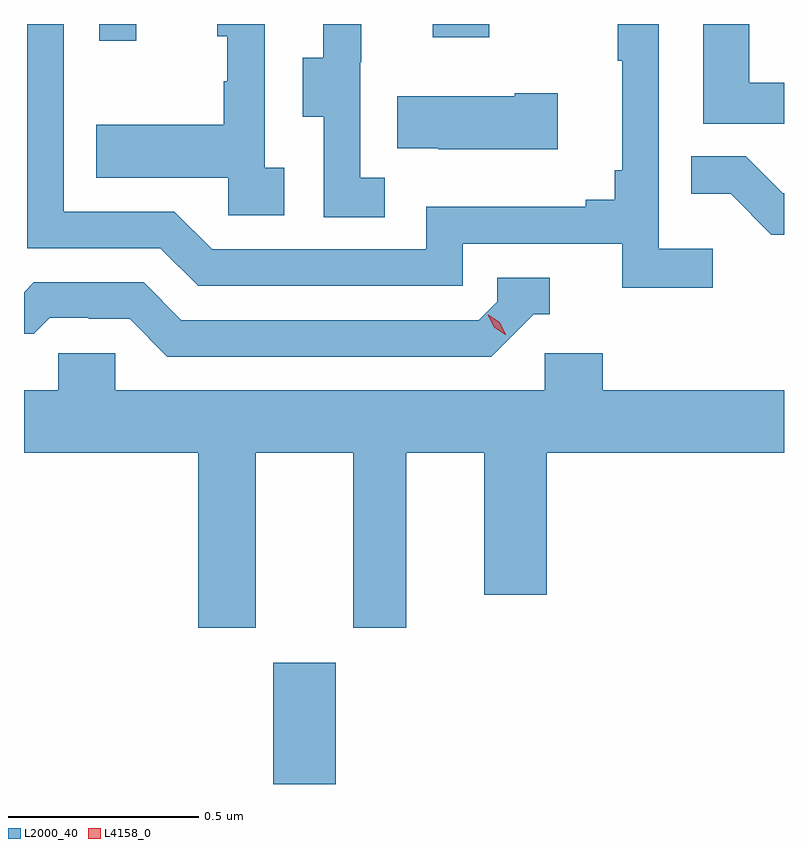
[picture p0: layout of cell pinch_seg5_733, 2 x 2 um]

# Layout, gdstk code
import gdstk
lib = gdstk.Library(unit=1e-6, precision=1e-09)
def R(c, l, rs):  # rectangles x0, y0, x1, y1
    for r in rs: c.add(gdstk.rectangle(r[:2], r[2:], *l))
def P(c, l, *ps):  # polygons
    for p in ps: c.add(gdstk.Polygon(p, *l))
L2000_40 = (2000, 40)
L4158_0 = (4158, 0)

pinch_seg5_733 = lib.new_cell('pinch_seg5_733')
R(pinch_seg5_733, L2000_40, [(1111.505,843.9,1111.669,844.219), (1111.047,845.856,1111.145,845.9), (1111.925,845.865,1112.073,845.9)])
P(pinch_seg5_733, L2000_40, [(1112.662,845.308),(1112.52,845.308),(1112.52,845.9),(1112.412,845.9),(1112.412,845.803),(1112.423,845.803),(1112.423,845.515),(1112.404,845.515),(1112.404,845.438),(1112.327,845.438),(1112.327,845.419),(1111.908,845.419),(1111.908,845.307),(1111.344,845.307),(1111.245,845.406),(1110.954,845.406),(1110.954,845.9),(1110.858,845.9),(1110.858,845.31),(1111.208,845.31),(1111.307,845.211),(1112.004,845.211),(1112.004,845.322),(1112.423,845.322),(1112.423,845.206),(1112.662,845.206)],
  [(1111.534,845.522),(1111.482,845.522),(1111.482,845.9),(1111.358,845.9),(1111.358,845.868),(1111.384,845.868),(1111.384,845.75),(1111.374,845.75),(1111.374,845.635),(1111.039,845.635),(1111.039,845.495),(1111.386,845.495),(1111.386,845.397),(1111.534,845.397)],
  [(1112.849,845.746),(1112.758,845.746),(1112.758,845.9),(1112.636,845.9),(1112.636,845.637),(1112.849,845.637)],
  [(1111.798,845.495),(1111.734,845.495),(1111.734,845.799),(1111.736,845.799),(1111.736,845.9),(1111.637,845.9),(1111.637,845.811),(1111.583,845.811),(1111.583,845.656),(1111.638,845.656),(1111.638,845.392),(1111.798,845.392)],
  [(1112.254,845.718),(1112.141,845.718),(1112.141,845.71),(1111.831,845.71),(1111.831,845.573),(1111.939,845.573),(1111.939,845.57),(1112.254,845.57)],
  [(1112.849,845.454),(1112.846,845.454),(1112.748,845.552),(1112.605,845.552),(1112.605,845.453),(1112.709,845.453),(1112.816,845.346),(1112.849,845.346)],
  [(1112.19,845.136),(1112.233,845.136),(1112.233,845.232),(1112.094,845.232),(1112.094,845.169),(1112.046,845.121),(1111.263,845.121),(1111.164,845.22),(1110.875,845.22),(1110.849,845.194),(1110.849,845.085),(1110.875,845.085),(1110.917,845.127),(1111.02,845.127),(1111.02,845.124),(1111.127,845.124),(1111.226,845.025),(1112.079,845.025)],
  [(1111.459,844.772),(1111.715,844.772),(1111.715,844.311),(1111.855,844.311),(1111.855,844.772),(1112.06,844.772),(1112.06,844.398),(1112.224,844.398),(1112.224,844.772),(1112.849,844.772),(1112.849,844.936),(1112.372,844.936),(1112.372,845.034),(1112.22,845.034),(1112.22,844.936),(1111.089,844.936),(1111.089,845.034),(1110.939,845.034),(1110.939,844.936),(1110.849,844.936),(1110.849,844.772),(1111.307,844.772),(1111.307,844.311),(1111.459,844.311)])
P(pinch_seg5_733, L4158_0, [(1112.116,845.082),(1112.086,845.102),(1112.07,845.135),(1112.07,845.135),(1112.071,845.135),(1112.101,845.115),(1112.117,845.083),(1112.117,845.082)])

lib.write_gds('pinch_seg5_733.gds')
